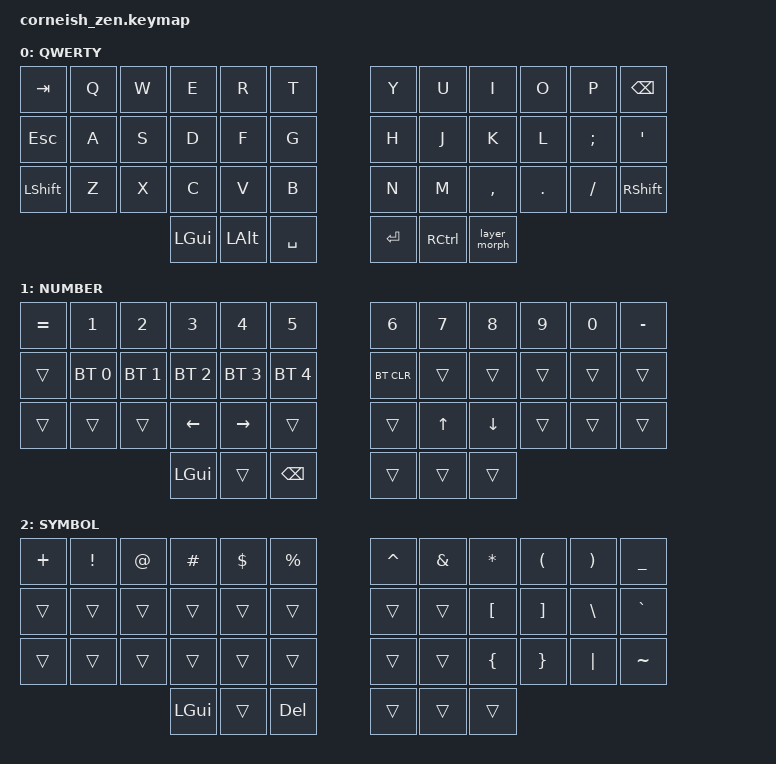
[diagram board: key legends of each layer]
#include <behaviors.dtsi>
#include <dt-bindings/zmk/keys.h>
#include <dt-bindings/zmk/bt.h>

/ {
    chosen {
        zmk,physical-layout = &foostan_corne_6col_layout;
    };

    behaviors {
        layer_morph: layer_morph {
            compatible = "zmk,behavior-mod-morph";
            label = "LAYER_MORPH";
            #binding-cells = <0>;
            mods = <(MOD_LSFT | MOD_RSFT)>;
            bindings = <&mo 1>, <&mo 2>;
        };
    };

    keymap {
        compatible = "zmk,keymap";

        default_layer {
            display-name = "QWERTY";
            bindings = <
                &kp TAB     &kp Q &kp W &kp E    &kp R    &kp T        &kp Y    &kp U      &kp I      &kp O     &kp P     &kp BSPC
                &kp ESC     &kp A &kp S &kp D    &kp F    &kp G        &kp H    &kp J      &kp K      &kp L     &kp SEMI  &kp SQT
                &kp LSHFT   &kp Z &kp X &kp C    &kp V    &kp B        &kp N    &kp M      &kp COMMA  &kp DOT   &kp FSLH  &kp RSHFT
                                        &kp LGUI &kp LALT &kp SPC      &kp RET  &kp RCTRL  &layer_morph
            >;
        };

        lower_layer {
            display-name = "NUMBER";
            bindings = <
                &kp EQUAL   &kp N1       &kp N2       &kp N3       &kp N4       &kp N5          &kp N6        &kp N7    &kp N8    &kp N9      &kp N0      &kp MINUS
                &trans      &bt BT_SEL 0 &bt BT_SEL 1 &bt BT_SEL 2 &bt BT_SEL 3 &bt BT_SEL 4    &bt BT_CLR    &trans    &trans    &trans      &trans      &trans
                &trans      &trans       &trans       &kp LEFT     &kp RIGHT    &trans          &trans        &kp UP    &kp DOWN  &trans      &trans      &trans
                                                      &kp LGUI     &trans       &kp BSPC        &trans        &trans    &trans
            >;
        };

        raise_layer {
            display-name = "SYMBOL";
            bindings = <
                &kp PLUS   &kp EXCL &kp AT   &kp HASH  &kp DLLR &kp PRCNT     &kp CARET  &kp AMPS  &kp ASTRK &kp LPAR &kp RPAR &kp UNDER
                &trans     &trans   &trans   &trans    &trans   &trans        &trans     &trans    &kp LBKT  &kp RBKT &kp BSLH &kp GRAVE
                &trans     &trans   &trans   &trans    &trans   &trans        &trans     &trans    &kp LBRC  &kp RBRC &kp PIPE &kp TILDE
                                             &kp LGUI  &trans   &kp DEL       &trans     &trans    &trans
            >;
        };
    };
};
